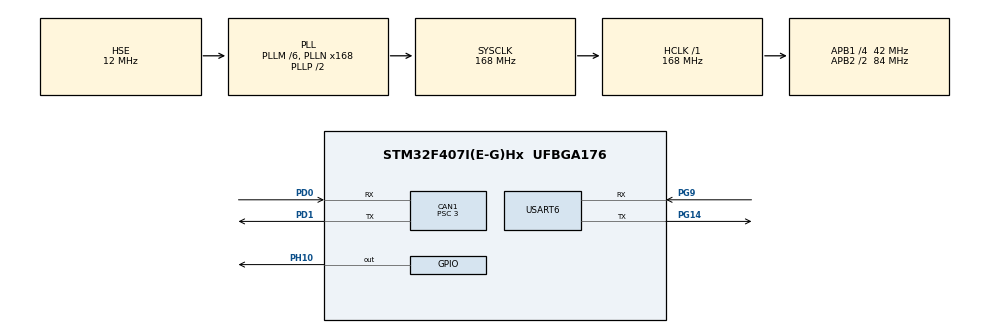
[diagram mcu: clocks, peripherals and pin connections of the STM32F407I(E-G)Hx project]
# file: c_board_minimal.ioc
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CAN1.BS1=CAN_BS1_11TQ
CAN1.BS2=CAN_BS2_2TQ
CAN1.CalculateBaudRate=1000000
CAN1.CalculateTimeBit=1000
CAN1.CalculateTimeQuantum=71.42857142857143
CAN1.Mode=CAN_MODE_NORMAL
CAN1.Prescaler=3
FREERTOS.Tasks01=AppMainTask,24,512,StartDefaultTask,Default,NULL,Static,AppMainTaskBuffer,AppMainTaskControlBlock
Mcu.Family=STM32F4
Mcu.Name=STM32F407I(E-G)Hx
Mcu.Package=UFBGA176
NVIC.PriorityGroup=NVIC_PRIORITYGROUP_4
NVIC.TIM6_DAC_IRQn=true\:15\:0\:false\:false\:true\:false\:false\:true\:true
NVIC.TimeBase=TIM6_DAC_IRQn
NVIC.TimeBaseIP=TIM6
NVIC.USART6_IRQn=true\:5\:0\:false\:false\:true\:true\:true\:true\:true
PA13.Mode=Serial_Wire
PA13.Signal=SYS_JTMS-SWDIO
PA14.Mode=Serial_Wire
PA14.Signal=SYS_JTCK-SWCLK
PD0.Mode=CAN_Activate
PD0.Signal=CAN1_RX
PD1.Mode=CAN_Activate
PD1.Signal=CAN1_TX
PG14.Mode=Asynchronous
PG14.Signal=USART6_TX
PG9.Mode=Asynchronous
PG9.Signal=USART6_RX
PH0-OSC_IN.Mode=HSE-External-Oscillator
PH0-OSC_IN.Signal=RCC_OSC_IN
PH1-OSC_OUT.Mode=HSE-External-Oscillator
PH1-OSC_OUT.Signal=RCC_OSC_OUT
PH10.Signal=GPIO_Output
ProjectManager.HeapSize=0x200
ProjectManager.StackSize=0x400
ProjectManager.TargetToolchain=MDK-ARM V5.32
RCC.48MHZClocksFreq_Value=48000000
RCC.AHBFreq_Value=168000000
RCC.APB1CLKDivider=RCC_HCLK_DIV4
RCC.APB1Freq_Value=42000000
RCC.APB1TimFreq_Value=84000000
RCC.APB2CLKDivider=RCC_HCLK_DIV2
RCC.APB2Freq_Value=84000000
RCC.APB2TimFreq_Value=168000000
RCC.CortexFreq_Value=168000000
RCC.HCLKFreq_Value=168000000
RCC.HSE_VALUE=12000000
RCC.HSI_VALUE=16000000
RCC.LSE_VALUE=32768
RCC.PLLM=6
RCC.PLLN=168
RCC.PLLQ=7
RCC.PLLSourceVirtual=RCC_PLLSOURCE_HSE
RCC.SYSCLKFreq_VALUE=168000000
RCC.SYSCLKSource=RCC_SYSCLKSOURCE_PLLCLK
RCC.VCOOutputFreq_Value=336000000
USART6.VirtualMode=VM_ASYNC
VP_FREERTOS_VS_CMSIS_V2.Mode=CMSIS_V2
VP_SYS_VS_tim6.Mode=TIM6
VP_RNG_VS_RNG.Mode=RNG_Activate
board=custom

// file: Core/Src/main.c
/* USER CODE BEGIN Header */
/**
  ******************************************************************************
  * @file           : main.c
  * @brief          : Main program body
  ******************************************************************************
  * @attention
  *
  * Copyright (c) 2026 STMicroelectronics.
  * All rights reserved.
  *
  * This software is licensed under terms that can be found in the LICENSE file
  * in the root directory of this software component.
  * If no LICENSE file comes with this software, it is provided AS-IS.
  *
  ******************************************************************************
  */
/* USER CODE END Header */
#include "main.h"
#include "cmsis_os.h"
#include "can.h"
#include "rng.h"
#include "usart.h"
#include "gpio.h"

/* USER CODE BEGIN Includes */
#include "bsp_can.h"
#include "c620_feedback.h"
#include "safety_state_machine.h"
#include "task_uart_adapter.h"
#include "test_task_ingress_service.h"
/* USER CODE END Includes */

void SystemClock_Config(void);
void MX_FREERTOS_Init(void);

int main(void)
{

  /* MCU Configuration--------------------------------------------------------*/

  /* Reset of all peripherals, Initializes the Flash interface and the Systick. */
  HAL_Init();

  /* Configure the system clock */
  SystemClock_Config();

  /* Initialize all configured peripherals */
  MX_GPIO_Init();
  MX_CAN1_Init();
  MX_USART6_UART_Init();
  MX_RNG_Init();
  /* USER CODE BEGIN 2 */
  if (BSP_CAN1_Init() != HAL_OK)
  {
    Error_Handler();
  }

  /*
   * 先初始化反馈和 Safety；TestTask_IngressInit() 负责 Runtime、
   * Recorder 和 Motion Gate。启动时仍保持未 arm。
   */
  C620_Feedback_Init();
  Safety_StateMachine_Init();
  TestTask_IngressInit();

  if (TaskUart_AdapterInit(
          &huart6,
          TEST_TASK_RECEIVER_DEFAULT_TIMEOUT_MS) != TASK_UART_ADAPTER_OK)
  {
    Error_Handler();
  }

  if (TaskUart_AdapterStart() != TASK_UART_ADAPTER_RX_ARMED)
  {
    Error_Handler();
  }

  /* USER CODE END 2 */

  /* Init scheduler */
  osKernelInitialize();  /* Call init function for freertos objects (in cmsis_os2.c) */
  MX_FREERTOS_Init();

  /* Start scheduler */
  osKernelStart();

  /* We should never get here as control is now taken by the scheduler. */
  while (1)
  {
    /* CubeMX-generated fallback only; the scheduler owns the application. */
  }
}

void SystemClock_Config(void)
{
  RCC_OscInitTypeDef RCC_OscInitStruct = {0};
  RCC_ClkInitTypeDef RCC_ClkInitStruct = {0};

  /** Configure the main internal regulator output voltage
  */
  __HAL_RCC_PWR_CLK_ENABLE();
  __HAL_PWR_VOLTAGESCALING_CONFIG(PWR_REGULATOR_VOLTAGE_SCALE1);

  /** Initializes the RCC Oscillators according to the specified parameters
  * in the RCC_OscInitTypeDef structure.
  */
  RCC_OscInitStruct.OscillatorType = RCC_OSCILLATORTYPE_HSE;
  RCC_OscInitStruct.HSEState = RCC_HSE_ON;
  RCC_OscInitStruct.PLL.PLLState = RCC_PLL_ON;
  RCC_OscInitStruct.PLL.PLLSource = RCC_PLLSOURCE_HSE;
  RCC_OscInitStruct.PLL.PLLM = 6;
  RCC_OscInitStruct.PLL.PLLN = 168;
  RCC_OscInitStruct.PLL.PLLP = RCC_PLLP_DIV2;
  RCC_OscInitStruct.PLL.PLLQ = 7;
  if (HAL_RCC_OscConfig(&RCC_OscInitStruct) != HAL_OK)
  {
    Error_Handler();
  }

  /** Initializes the CPU, AHB and APB buses clocks
  */
  RCC_ClkInitStruct.ClockType = RCC_CLOCKTYPE_HCLK|RCC_CLOCKTYPE_SYSCLK
                              |RCC_CLOCKTYPE_PCLK1|RCC_CLOCKTYPE_PCLK2;
  RCC_ClkInitStruct.SYSCLKSource = RCC_SYSCLKSOURCE_PLLCLK;
  RCC_ClkInitStruct.AHBCLKDivider = RCC_SYSCLK_DIV1;
  RCC_ClkInitStruct.APB1CLKDivider = RCC_HCLK_DIV4;
  RCC_ClkInitStruct.APB2CLKDivider = RCC_HCLK_DIV2;

  if (HAL_RCC_ClockConfig(&RCC_ClkInitStruct, FLASH_LATENCY_5) != HAL_OK)
  {
    Error_Handler();
  }
}

/* USER CODE BEGIN 4 */
void HAL_UART_RxCpltCallback(UART_HandleTypeDef *huart)
{
  (void)TaskUart_AdapterOnRxComplete(
      huart,
      HAL_GetTick());
}

void HAL_UART_ErrorCallback(UART_HandleTypeDef *huart)
{
  (void)TaskUart_AdapterOnError(huart);
}

void HAL_UART_TxCpltCallback(UART_HandleTypeDef *huart)
{
  (void)TaskUart_AdapterOnTxComplete(huart);
}
/* USER CODE END 4 */

void HAL_TIM_PeriodElapsedCallback(TIM_HandleTypeDef *htim)
{
  if (htim->Instance == TIM6)
  {
    HAL_IncTick();
  }
}

void Error_Handler(void)
{
  __disable_irq();
  while (1)
  {
  }
}

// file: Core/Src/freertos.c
/* USER CODE BEGIN Header */
/**
  ******************************************************************************
  * File Name          : freertos.c
  * Description        : Code for freertos applications
  ******************************************************************************
  * @attention
  *
  * Copyright (c) 2026 STMicroelectronics.
  * All rights reserved.
  *
  * This software is licensed under terms that can be found in the LICENSE file
  * in the root directory of this software component.
  * If no LICENSE file comes with this software, it is provided AS-IS.
  *
  ******************************************************************************
  */
/* USER CODE END Header */

#include "FreeRTOS.h"
#include "task.h"
#include "main.h"
#include "cmsis_os.h"

/* USER CODE BEGIN Includes */
#include "semphr.h"
#include "app_main_task_service.h"
/* USER CODE END Includes */

typedef StaticTask_t osStaticThreadDef_t;

/* USER CODE BEGIN Variables */
static StaticTask_t g_serial_task_control_block;
static uint32_t g_serial_task_stack[512U];
static StaticSemaphore_t g_uart_mutex_control_block;
static osMutexId_t g_uart_mutex;
static osThreadId_t g_serial_task_handle;
volatile uint32_t g_app_control_cycle_count;
volatile uint32_t g_app_serial_service_count;
volatile uint32_t g_app_uart_lock_miss_count;
volatile uint32_t g_app_serial_loop_count;
volatile uint32_t g_app_control_max_gap_ms;
volatile uint32_t g_app_serial_max_gap_ms;
volatile uint32_t g_app_main_stack_min_free_bytes;
volatile uint32_t g_app_serial_stack_min_free_bytes;

/* USER CODE END Variables */
/* Definitions for AppMainTask */
osThreadId_t AppMainTaskHandle;
uint32_t AppMainTaskBuffer[ 512 ];
osStaticThreadDef_t AppMainTaskControlBlock;
const osThreadAttr_t AppMainTask_attributes = {
  .name = "AppMainTask",
  .cb_mem = &AppMainTaskControlBlock,
  .cb_size = sizeof(AppMainTaskControlBlock),
  .stack_mem = &AppMainTaskBuffer[0],
  .stack_size = sizeof(AppMainTaskBuffer),
  .priority = (osPriority_t) osPriorityNormal,
};

/* USER CODE BEGIN FunctionPrototypes */
static void StartSerialTask(void *argument);

/* USER CODE END FunctionPrototypes */

void StartDefaultTask(void *argument);

void MX_FREERTOS_Init(void); /* (MISRA C 2004 rule 8.1) */

void MX_FREERTOS_Init(void) {

  /* USER CODE BEGIN RTOS_MUTEX */
  const osMutexAttr_t uart_mutex_attributes = {
    .name = "UartAdapterMutex",
    .attr_bits = osMutexPrioInherit,
    .cb_mem = &g_uart_mutex_control_block,
    .cb_size = sizeof(g_uart_mutex_control_block),
  };
  g_uart_mutex = osMutexNew(&uart_mutex_attributes);
  if (g_uart_mutex == NULL)
  {
    Error_Handler();
  }
  /* USER CODE END RTOS_MUTEX */

  /* Create the thread(s) */
  /* creation of AppMainTask */
  AppMainTaskHandle = osThreadNew(StartDefaultTask, NULL, &AppMainTask_attributes);

  /* USER CODE BEGIN RTOS_THREADS */
  {
    const osThreadAttr_t serial_task_attributes = {
      .name = "SerialTask",
      .cb_mem = &g_serial_task_control_block,
      .cb_size = sizeof(g_serial_task_control_block),
      .stack_mem = g_serial_task_stack,
      .stack_size = sizeof(g_serial_task_stack),
      .priority = osPriorityBelowNormal,
    };
    g_serial_task_handle = osThreadNew(
        StartSerialTask, NULL, &serial_task_attributes);
    if ((AppMainTaskHandle == NULL) || (g_serial_task_handle == NULL))
    {
      Error_Handler();
    }
  }
  /* USER CODE END RTOS_THREADS */

}

void StartDefaultTask(void *argument)
{
  (void)argument;
  /* USER CODE BEGIN StartDefaultTask */
  uint32_t previous_tick_ms = 0U;
  uint8_t has_previous_tick = 0U;
  /* Infinite loop */
  for(;;)
  {
    uint32_t now_ms = HAL_GetTick();
    if (has_previous_tick != 0U)
    {
      uint32_t gap_ms = now_ms - previous_tick_ms;
      if (gap_ms > g_app_control_max_gap_ms)
      {
        g_app_control_max_gap_ms = gap_ms;
      }
    }
    previous_tick_ms = now_ms;
    has_previous_tick = 1U;
    AppMainTaskService_RunControlOnce(now_ms);
    g_app_control_cycle_count++;
    if (osMutexAcquire(g_uart_mutex, 0U) == osOK)
    {
      AppMainTaskService_RunIngressOnce(now_ms);
      (void)osMutexRelease(g_uart_mutex);
    }
    else
    {
      g_app_uart_lock_miss_count++;
    }
    if ((g_app_control_cycle_count & 0xFFU) == 0U)
    {
      g_app_main_stack_min_free_bytes =
          osThreadGetStackSpace(AppMainTaskHandle);
    }
    osDelay(1);
  }
  /* USER CODE END StartDefaultTask */
}

/* USER CODE BEGIN Application */
static void StartSerialTask(void *argument)
{
  uint32_t previous_tick_ms = 0U;
  uint8_t has_previous_tick = 0U;
  (void)argument;
  for (;;)
  {
    uint32_t now_ms = HAL_GetTick();
    if (has_previous_tick != 0U)
    {
      uint32_t gap_ms = now_ms - previous_tick_ms;
      if (gap_ms > g_app_serial_max_gap_ms)
      {
        g_app_serial_max_gap_ms = gap_ms;
      }
    }
    previous_tick_ms = now_ms;
    has_previous_tick = 1U;
    g_app_serial_loop_count++;
    if (osMutexAcquire(g_uart_mutex, 0U) == osOK)
    {
      AppMainTaskService_RunUartOnce(now_ms);
      g_app_serial_service_count++;
      (void)osMutexRelease(g_uart_mutex);
    }
    if ((g_app_serial_loop_count & 0xFFU) == 0U)
    {
      g_app_serial_stack_min_free_bytes =
          osThreadGetStackSpace(g_serial_task_handle);
    }
    osDelay(1);
  }
}

/* USER CODE END Application */
